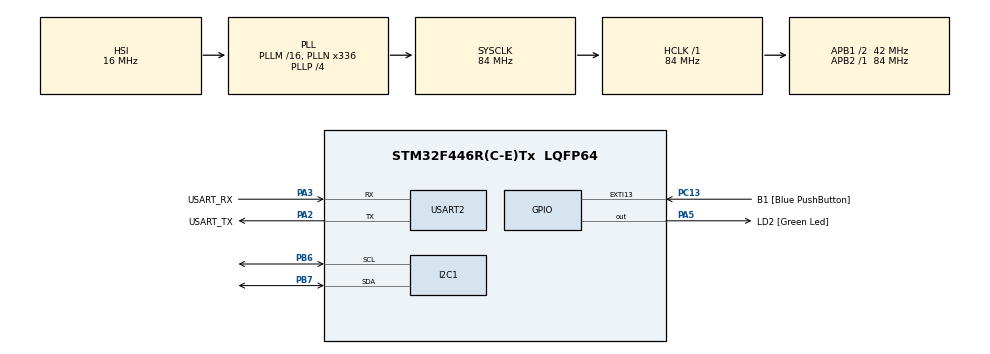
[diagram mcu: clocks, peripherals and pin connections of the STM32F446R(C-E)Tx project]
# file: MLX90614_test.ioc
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Mcu.Family=STM32F4
Mcu.Name=STM32F446R(C-E)Tx
Mcu.Package=LQFP64
NVIC.PriorityGroup=NVIC_PRIORITYGROUP_0
PA13.GPIO_Label=TMS
PA13.Mode=Serial_Wire
PA13.Signal=SYS_JTMS-SWDIO
PA14.GPIO_Label=TCK
PA14.Mode=Serial_Wire
PA14.Signal=SYS_JTCK-SWCLK
PA2.GPIO_Label=USART_TX
PA2.Mode=Asynchronous
PA2.Signal=USART2_TX
PA3.GPIO_Label=USART_RX
PA3.Mode=Asynchronous
PA3.Signal=USART2_RX
PA5.GPIO_Label=LD2 [Green Led]
PA5.Signal=GPIO_Output
PB3.GPIO_Label=SWO
PB3.Signal=SYS_JTDO-SWO
PB6.Mode=I2C
PB6.Signal=I2C1_SCL
PB7.Mode=I2C
PB7.Signal=I2C1_SDA
PC13.GPIO_Label=B1 [Blue PushButton]
PC13.GPIO_ModeDefaultEXTI=GPIO_MODE_IT_FALLING
PC13.Signal=GPXTI13
PC14-OSC32_IN.Mode=LSE-External-Oscillator
PC14-OSC32_IN.Signal=RCC_OSC32_IN
PC15-OSC32_OUT.Mode=LSE-External-Oscillator
PC15-OSC32_OUT.Signal=RCC_OSC32_OUT
PH0-OSC_IN.Mode=HSE-External-Oscillator
PH0-OSC_IN.Signal=RCC_OSC_IN
PH1-OSC_OUT.Mode=HSE-External-Oscillator
PH1-OSC_OUT.Signal=RCC_OSC_OUT
ProjectManager.HeapSize=0x200
ProjectManager.StackSize=0x400
ProjectManager.TargetToolchain=STM32CubeIDE
RCC.48MHZClocksFreq_Value=84000000
RCC.AHBFreq_Value=84000000
RCC.APB1CLKDivider=RCC_HCLK_DIV2
RCC.APB1Freq_Value=42000000
RCC.APB1TimFreq_Value=84000000
RCC.APB2Freq_Value=84000000
RCC.APB2TimFreq_Value=84000000
RCC.CortexFreq_Value=84000000
RCC.FLatency-AdvancedSettings=FLASH_LATENCY_2
RCC.HCLKFreq_Value=84000000
RCC.HSE_VALUE=8000000
RCC.HSI_VALUE=16000000
RCC.PLLN=336
RCC.PLLP=RCC_PLLP_DIV4
RCC.SYSCLKFreq_VALUE=84000000
RCC.SYSCLKSource=RCC_SYSCLKSOURCE_PLLCLK
RCC.USBFreq_Value=168000000
RCC.VCOOutputFreq_Value=336000000
USART2.VirtualMode=VM_ASYNC
board=NUCLEO-F446RE

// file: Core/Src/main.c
/* USER CODE BEGIN Header */
/**
  ******************************************************************************
  * @file           : main.c
  * @brief          : Main program body
  ******************************************************************************
  * @attention
  *
  * Copyright (c) 2022 STMicroelectronics.
  * All rights reserved.
  *
  * This software is licensed under terms that can be found in the LICENSE file
  * in the root directory of this software component.
  * If no LICENSE file comes with this software, it is provided AS-IS.
  *
  ******************************************************************************
  */
/* USER CODE END Header */
#include "main.h"

/* USER CODE BEGIN Includes */
#include <stdio.h>
#include <string.h>
#include "retarget.h"
/* USER CODE END Includes */

I2C_HandleTypeDef hi2c1;

UART_HandleTypeDef huart2;

/* USER CODE BEGIN PV */
static const uint8_t MLX_ADDR = 0x5A << 1;
static const uint8_t MLX_TA = 0x06;
/* USER CODE END PV */

void SystemClock_Config(void);
static void MX_GPIO_Init(void);
static void MX_USART2_UART_Init(void);
static void MX_I2C1_Init(void);

/* USER CODE BEGIN 0 */
float testTemp(){
	uint8_t buffer[3];
	uint8_t I2C_ADDR = 0xB5;
	uint8_t TEMP_CONFIG = 0x07;
	float temperature;

	HAL_I2C_Mem_Read(&hi2c1, I2C_ADDR,TEMP_CONFIG,I2C_MEMADD_SIZE_8BIT, buffer, 3, 100);

	uint16_t value;
	value = (uint16_t)((buffer[1] & 0x7F)<<8) | buffer[0];

	temperature = ((0.02*value) - 0.01) - 273.15;
	return temperature;
}

HAL_StatusTypeDef ret;
char hello[] = "Hello\n "; // to store data
uint8_t data[5];
float temperature;
char buffer[1024]; // to store data
/* to send the data to tue uart */
void send_uart(char *string)
{
	uint8_t len = strlen(string);
	HAL_UART_Transmit(&huart2, (uint8_t *) string, len, 2000);
}
void bufclear(void) // clear buffer
{
	for (int i = 0; i<1024; i++)
	{
		buffer[i] = '\0';
	}
}
/* USER CODE END 0 */

int main(void)
{
  /* USER CODE BEGIN 1 */
	float temp;
  /* USER CODE END 1 */

  /* MCU Configuration--------------------------------------------------------*/

  /* Reset of all peripherals, Initializes the Flash interface and the Systick. */
  HAL_Init();

  /* Configure the system clock */
  SystemClock_Config();

  /* Initialize all configured peripherals */
  MX_GPIO_Init();
  MX_USART2_UART_Init();
  MX_I2C1_Init();
  /* USER CODE BEGIN 2 */
  RetargetInit(&huart2);
  /* USER CODE END 2 */

  /* Infinite loop */
  /* USER CODE BEGIN WHILE */
  while (1)
  {
	  ret = HAL_I2C_Mem_Read(&hi2c1, MLX_ADDR, MLX_TA, 1, data, 2, 100);
	  int temp = (data[1] << 8 | data[0]);
	  temperature = temp*0.02 - 273.15; // Resolution du capteur de 0.02°C donc x0.02 et -273.15 pour passer de Kelvin en °C
	  int unite = (int) temperature;
	  float tempo = (temperature - unite) * 100;
	  int decimal = (int) tempo;
	  sprintf(buffer, "Temperature  : \t%d.%d\n\r", unite, decimal);
	  send_uart(buffer);

	  temp = testTemp();
	  sprintf(buffer, "Temperature2 : %f\n\r", temperature);
	  send_uart(buffer);
	  bufclear();
	  HAL_Delay(200);
    /* USER CODE END WHILE */

  }
}

void SystemClock_Config(void)
{
  RCC_OscInitTypeDef RCC_OscInitStruct = {0};
  RCC_ClkInitTypeDef RCC_ClkInitStruct = {0};

  /** Configure the main internal regulator output voltage
  */
  __HAL_RCC_PWR_CLK_ENABLE();
  __HAL_PWR_VOLTAGESCALING_CONFIG(PWR_REGULATOR_VOLTAGE_SCALE3);

  /** Initializes the RCC Oscillators according to the specified parameters
  * in the RCC_OscInitTypeDef structure.
  */
  RCC_OscInitStruct.OscillatorType = RCC_OSCILLATORTYPE_HSI;
  RCC_OscInitStruct.HSIState = RCC_HSI_ON;
  RCC_OscInitStruct.HSICalibrationValue = RCC_HSICALIBRATION_DEFAULT;
  RCC_OscInitStruct.PLL.PLLState = RCC_PLL_ON;
  RCC_OscInitStruct.PLL.PLLSource = RCC_PLLSOURCE_HSI;
  RCC_OscInitStruct.PLL.PLLM = 16;
  RCC_OscInitStruct.PLL.PLLN = 336;
  RCC_OscInitStruct.PLL.PLLP = RCC_PLLP_DIV4;
  RCC_OscInitStruct.PLL.PLLQ = 2;
  RCC_OscInitStruct.PLL.PLLR = 2;
  if (HAL_RCC_OscConfig(&RCC_OscInitStruct) != HAL_OK)
  {
    Error_Handler();
  }

  /** Initializes the CPU, AHB and APB buses clocks
  */
  RCC_ClkInitStruct.ClockType = RCC_CLOCKTYPE_HCLK|RCC_CLOCKTYPE_SYSCLK
                              |RCC_CLOCKTYPE_PCLK1|RCC_CLOCKTYPE_PCLK2;
  RCC_ClkInitStruct.SYSCLKSource = RCC_SYSCLKSOURCE_PLLCLK;
  RCC_ClkInitStruct.AHBCLKDivider = RCC_SYSCLK_DIV1;
  RCC_ClkInitStruct.APB1CLKDivider = RCC_HCLK_DIV2;
  RCC_ClkInitStruct.APB2CLKDivider = RCC_HCLK_DIV1;

  if (HAL_RCC_ClockConfig(&RCC_ClkInitStruct, FLASH_LATENCY_2) != HAL_OK)
  {
    Error_Handler();
  }
}

static void MX_I2C1_Init(void)
{

  hi2c1.Instance = I2C1;
  hi2c1.Init.ClockSpeed = 100000;
  hi2c1.Init.DutyCycle = I2C_DUTYCYCLE_2;
  hi2c1.Init.OwnAddress1 = 0;
  hi2c1.Init.AddressingMode = I2C_ADDRESSINGMODE_7BIT;
  hi2c1.Init.DualAddressMode = I2C_DUALADDRESS_DISABLE;
  hi2c1.Init.OwnAddress2 = 0;
  hi2c1.Init.GeneralCallMode = I2C_GENERALCALL_DISABLE;
  hi2c1.Init.NoStretchMode = I2C_NOSTRETCH_DISABLE;
  if (HAL_I2C_Init(&hi2c1) != HAL_OK)
  {
    Error_Handler();
  }

}

static void MX_USART2_UART_Init(void)
{

  huart2.Instance = USART2;
  huart2.Init.BaudRate = 115200;
  huart2.Init.WordLength = UART_WORDLENGTH_8B;
  huart2.Init.StopBits = UART_STOPBITS_1;
  huart2.Init.Parity = UART_PARITY_NONE;
  huart2.Init.Mode = UART_MODE_TX_RX;
  huart2.Init.HwFlowCtl = UART_HWCONTROL_NONE;
  huart2.Init.OverSampling = UART_OVERSAMPLING_16;
  if (HAL_UART_Init(&huart2) != HAL_OK)
  {
    Error_Handler();
  }

}

static void MX_GPIO_Init(void)
{
  GPIO_InitTypeDef GPIO_InitStruct = {0};

  /* GPIO Ports Clock Enable */
  __HAL_RCC_GPIOC_CLK_ENABLE();
  __HAL_RCC_GPIOH_CLK_ENABLE();
  __HAL_RCC_GPIOA_CLK_ENABLE();
  __HAL_RCC_GPIOB_CLK_ENABLE();

  /*Configure GPIO pin Output Level */
  HAL_GPIO_WritePin(LD2_GPIO_Port, LD2_Pin, GPIO_PIN_RESET);

  /*Configure GPIO pin : B1_Pin */
  GPIO_InitStruct.Pin = B1_Pin;
  GPIO_InitStruct.Mode = GPIO_MODE_IT_FALLING;
  GPIO_InitStruct.Pull = GPIO_NOPULL;
  HAL_GPIO_Init(B1_GPIO_Port, &GPIO_InitStruct);

  /*Configure GPIO pin : LD2_Pin */
  GPIO_InitStruct.Pin = LD2_Pin;
  GPIO_InitStruct.Mode = GPIO_MODE_OUTPUT_PP;
  GPIO_InitStruct.Pull = GPIO_NOPULL;
  GPIO_InitStruct.Speed = GPIO_SPEED_FREQ_LOW;
  HAL_GPIO_Init(LD2_GPIO_Port, &GPIO_InitStruct);

}

void Error_Handler(void)
{
  __disable_irq();
  while (1)
  {
  }
}
